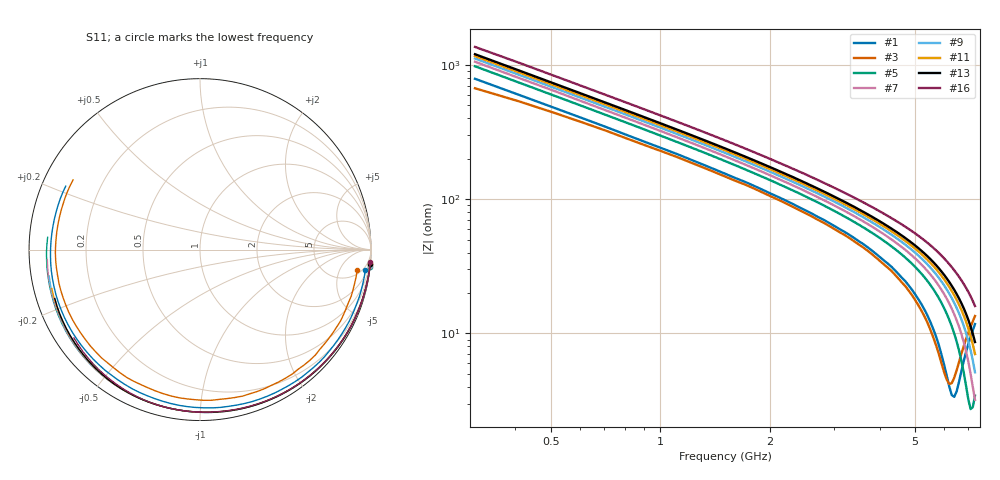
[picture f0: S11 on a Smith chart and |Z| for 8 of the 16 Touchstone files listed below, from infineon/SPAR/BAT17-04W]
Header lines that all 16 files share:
! Infineon Technologies  Discrete & RF Semiconductors
! BAT17-04W
! One-Port S-Parameters
# Hz  S  MA  R  50
!f  S11
!Hz  Mag  Ang
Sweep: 309.9 MHz to 7.306 GHz
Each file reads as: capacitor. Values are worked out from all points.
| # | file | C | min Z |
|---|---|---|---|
| 1 | BAT17-04W_IAC_0.01mA.s1p | 657 fF | 3.37 ohm |
| 2 | BAT17-04W_IAC_0.02mA.s1p | 714 fF | 3.77 ohm |
| 3 | BAT17-04W_IAC_0.03mA.s1p | 794 fF | 4.21 ohm |
| 4 | BAT17-04W_IAC_0.04mA.s1p | 899 fF | 4.58 ohm |
| 5 | BAT17-04W_VCA_0.1V.s1p | 526 fF | 2.73 ohm |
| 6 | BAT17-04W_VCA_0.2V.s1p | 504 fF | 2.78 ohm |
| 7 | BAT17-04W_VCA_0.3V.s1p | 488 fF | 3.2 ohm |
| 8 | BAT17-04W_VCA_0.4V.s1p | 474 fF | 4.12 ohm |
| 9 | BAT17-04W_VCA_0.5V.s1p | 462 fF | 5.14 ohm |
| 10 | BAT17-04W_VCA_0.6V.s1p | 452 fF | 6.12 ohm |
| 11 | BAT17-04W_VCA_0.7V.s1p | 443 fF | 7.03 ohm |
| 12 | BAT17-04W_VCA_0.8V.s1p | 436 fF | 7.86 ohm |
| 13 | BAT17-04W_VCA_0.9V.s1p | 429 fF | 8.63 ohm |
| 14 | BAT17-04W_VCA_1V.s1p | 423 fF | 9.32 ohm |
| 15 | BAT17-04W_VCA_2V.s1p | 390 fF | 13.8 ohm |
| 16 | BAT17-04W_VCA_3V.s1p | 376 fF | 16 ohm |
